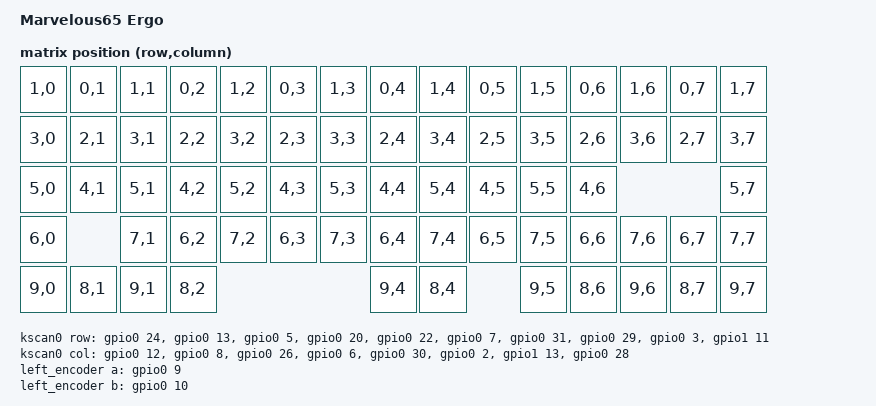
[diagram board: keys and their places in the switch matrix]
/*
 * Copyright (c) 2024 Ujang Karnadi
 *
 * SPDX-License-Identifier: MIT
 */


/dts-v1/;
#include <nordic/nrf52840_qiaa.dtsi>

#include <dt-bindings/zmk/matrix_transform.h>
#include <dt-bindings/led/led.h>

#include "marvelous65_ergo-pinctrl.dtsi"

/ {
    model = "Marvelous65 Ergo";
    compatible = "karnadi,marvelous65_ergo";

    chosen {
        zephyr,code-partition = &code_partition;
        zephyr,sram = &sram0;
        zephyr,flash = &flash0;
        zmk,battery = &vbatt;
        zmk,kscan = &kscan0;
        zmk,matrix_transform = &default_transform;
        zmk,underglow = &led_strip;
        zephyr,display = &oled;
    };

    // Duplex matrix: 10 virtual rows × 8 cols (80 key slots) wired from
    // 5 physical rows time-multiplexed across 8 column pins. The interleaved
    // RC(0,n) RC(1,n) ... pattern saves MCU pins at the cost of an extra
    // transform step. The MCU's column count is fixed by the nrfmicro-13
    // pinout (8 cols); we double up on rows to keep the column budget low.
    //
    // Differs from the standard Marvelous65 Rev2:
    //   - Row 3 wired to P0.20 (Rev2 uses P1.4) due to PCB trace routing.
    //   - B key split across row 3 (left half) and row 4 (right half).
    default_transform: keymap_transform_0 {
        compatible = "zmk,matrix-transform";
        columns = <8>;
        rows = <10>;

        // Ergo variant — split B between row 3 (left half) and row 4.
        // Differs from the standard Marvelous65 Rev2 in row 3 (P0.20
        // instead of P1.4) and the row 3/4 boundary.
        map = <
RC(1,0) RC(0,1) RC(1,1) RC(0,2) RC(1,2) RC(0,3) RC(1,3) RC(0,4) RC(1,4) RC(0,5) RC(1,5) RC(0,6) RC(1,6) RC(0,7) RC(1,7)
RC(3,0) RC(2,1) RC(3,1) RC(2,2) RC(3,2) RC(2,3) RC(3,3) RC(2,4) RC(3,4) RC(2,5) RC(3,5) RC(2,6) RC(3,6) RC(2,7) RC(3,7)
RC(5,0) RC(4,1) RC(5,1) RC(4,2) RC(5,2) RC(4,3) RC(5,3) RC(4,4) RC(5,4) RC(4,5) RC(5,5) RC(4,6)                 RC(5,7)
RC(6,0)         RC(7,1) RC(6,2) RC(7,2) RC(6,3) RC(7,3) RC(6,4) RC(7,4) RC(6,5) RC(7,5) RC(6,6) RC(7,6) RC(6,7) RC(7,7)
RC(9,0) RC(8,1) RC(9,1) RC(8,2)                         RC(9,4) RC(8,4)         RC(9,5) RC(8,6) RC(9,6) RC(8,7) RC(9,7)
        >;
    };

    kscan0: kscan_0 {
        compatible = "zmk,kscan-gpio-matrix";
        label = "KSCAN";
        diode-direction = "col2row";
        wakeup-source;

        col-gpios
            = <&gpio0 12 GPIO_ACTIVE_HIGH>
            , <&gpio0 8 GPIO_ACTIVE_HIGH>
            , <&gpio0 26 GPIO_ACTIVE_HIGH>
            , <&gpio0 6 GPIO_ACTIVE_HIGH>
            , <&gpio0 30 GPIO_ACTIVE_HIGH>
            , <&gpio0 2 GPIO_ACTIVE_HIGH>
            , <&gpio1 13 GPIO_ACTIVE_HIGH>
            , <&gpio0 28 GPIO_ACTIVE_HIGH>
            ;

        row-gpios
            = <&gpio0 24 (GPIO_ACTIVE_HIGH | GPIO_PULL_DOWN)>
            , <&gpio0 13 (GPIO_ACTIVE_HIGH | GPIO_PULL_DOWN)>
            , <&gpio0 5 (GPIO_ACTIVE_HIGH | GPIO_PULL_DOWN)>
            , <&gpio0 20 (GPIO_ACTIVE_HIGH | GPIO_PULL_DOWN)>
            , <&gpio0 22 (GPIO_ACTIVE_HIGH | GPIO_PULL_DOWN)>
            , <&gpio0 7 (GPIO_ACTIVE_HIGH | GPIO_PULL_DOWN)>
            , <&gpio0 31 (GPIO_ACTIVE_HIGH | GPIO_PULL_DOWN)>
            , <&gpio0 29 (GPIO_ACTIVE_HIGH | GPIO_PULL_DOWN)>
            , <&gpio0 3 (GPIO_ACTIVE_HIGH | GPIO_PULL_DOWN)>
            , <&gpio1 11 (GPIO_ACTIVE_HIGH | GPIO_PULL_DOWN)>
            ;
    };

    left_encoder: encoder_left {
        compatible = "alps,ec11";
        label = "LEFT_ENCODER";
        a-gpios = <&gpio0 9 (GPIO_ACTIVE_HIGH | GPIO_PULL_UP)>;
        b-gpios = <&gpio0 10 (GPIO_ACTIVE_HIGH | GPIO_PULL_UP)>;
        steps = <80>;
        status = "okay";
    };

    sensors {
        compatible = "zmk,keymap-sensors";
        sensors = <&left_encoder>;
        triggers-per-rotation = <20>;
    };

    vbatt: vbatt {
        compatible = "zmk,battery-voltage-divider";
        io-channels = <&adc 2>;
        output-ohms = <2000000>;
        full-ohms = <(2000000 + 820000)>;
    };

    leds {
        compatible = "gpio-leds";

        blue_led: led_0 {
            gpios = <&gpio1 10 GPIO_ACTIVE_HIGH>;
            label = "Blue LED";
        };
    };

    EXT_POWER {
        compatible = "zmk,ext-power-generic";
        control-gpios = <&gpio1 9 GPIO_ACTIVE_LOW>;
        init-delay-ms = <300>;
    };
};

&adc {
    status = "okay";
};

&gpiote {
    status = "okay";
};

&gpio0 {
    status = "okay";
};

&gpio1 {
    status = "okay";
};

&i2c0 {
    compatible = "nordic,nrf-twi";
    pinctrl-0 = <&i2c0_default>;
    pinctrl-1 = <&i2c0_sleep>;
    pinctrl-names = "default", "sleep";
    status = "okay";

    oled: ssd1306@3c {
        compatible = "solomon,ssd1306fb";
        reg = <0x3c>;
        label = "DISPLAY";
        width = <128>;
        height = <32>;
        segment-offset = <0>;
        page-offset = <0>;
        display-offset = <0>;
        multiplex-ratio = <31>;
        segment-remap;
        com-invdir;
        com-sequential;
        prechargep = <0x22>;
    };
};

&spi1 {
    compatible = "nordic,nrf-spim";
    pinctrl-0 = <&spi1_default>;
    pinctrl-1 = <&spi1_sleep>;
    pinctrl-names = "default", "sleep";
    status = "okay";

    led_strip: ws2812@0 {
        compatible = "worldsemi,ws2812-spi";
        label = "WS2812";

        /* SPI */
        reg = <0>; /* ignored, but necessary for SPI bindings */
        spi-max-frequency = <4000000>;

        /* WS2812 */
        chain-length = <14>;
        spi-one-frame = <0x70>;
        spi-zero-frame = <0x40>;
        color-mapping = <LED_COLOR_ID_GREEN
                        LED_COLOR_ID_RED
                        LED_COLOR_ID_BLUE>;
    };
};

zephyr_udc0: &usbd {
    status = "okay";
};

&flash0 {
    partitions {
        compatible = "fixed-partitions";
        #address-cells = <1>;
        #size-cells = <1>;

        sd_partition: partition@0 {
            label = "mbr";
            reg = <0x00000000 0x00001000>;
        };

        code_partition: partition@1000 {
            label = "code_partition";
            reg = <0x00001000 0x000d3000>;
        };

        storage_partition: partition@d4000 {
            label = "storage";
            reg = <0x000d4000 0x00020000>;
        };

        boot_partition: partition@f4000 {
            label = "adafruit_boot";
            reg = <0x000f4000 0x0000c000>;
        };
    };
};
